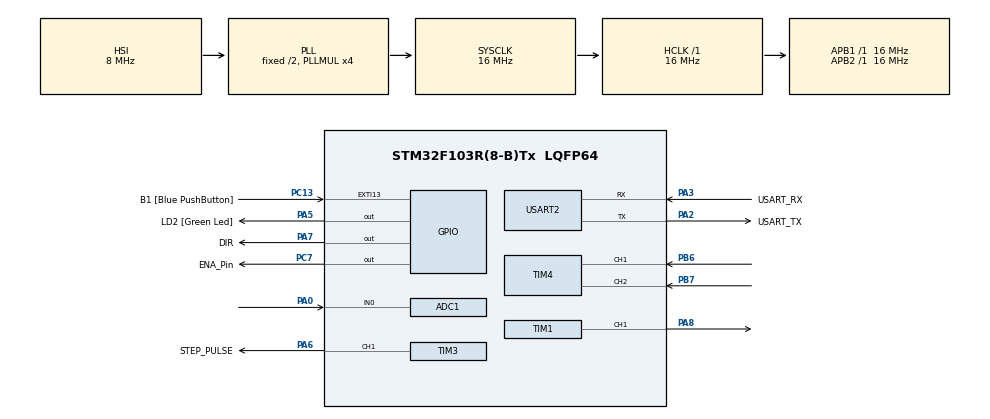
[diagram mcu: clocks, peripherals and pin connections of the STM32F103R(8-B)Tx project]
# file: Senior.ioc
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ADC1.Channel-1\#ChannelRegularConversion=ADC_CHANNEL_0
ADC1.ExternalTrigConv=ADC_EXTERNALTRIGCONV_T1_CC1
ADC1.NbrOfConversionFlag=1
ADC1.Rank-1\#ChannelRegularConversion=1
ADC1.SamplingTime-1\#ChannelRegularConversion=ADC_SAMPLETIME_55CYCLES_5
ADC1.master=1
Dma.ADC1.2.Direction=DMA_PERIPH_TO_MEMORY
Dma.ADC1.2.Instance=DMA1_Channel1
Dma.ADC1.2.MemDataAlignment=DMA_MDATAALIGN_HALFWORD
Dma.ADC1.2.MemInc=DMA_MINC_ENABLE
Dma.ADC1.2.Mode=DMA_CIRCULAR
Dma.ADC1.2.PeriphDataAlignment=DMA_PDATAALIGN_HALFWORD
Dma.ADC1.2.PeriphInc=DMA_PINC_DISABLE
Dma.ADC1.2.Priority=DMA_PRIORITY_LOW
Dma.Request0=USART2_TX
Dma.Request1=USART2_RX
Dma.Request2=ADC1
Dma.USART2_RX.1.Direction=DMA_PERIPH_TO_MEMORY
Dma.USART2_RX.1.Instance=DMA1_Channel6
Dma.USART2_RX.1.MemDataAlignment=DMA_MDATAALIGN_BYTE
Dma.USART2_RX.1.MemInc=DMA_MINC_ENABLE
Dma.USART2_RX.1.Mode=DMA_CIRCULAR
Dma.USART2_RX.1.PeriphDataAlignment=DMA_PDATAALIGN_BYTE
Dma.USART2_RX.1.PeriphInc=DMA_PINC_DISABLE
Dma.USART2_RX.1.Priority=DMA_PRIORITY_LOW
Dma.USART2_TX.0.Direction=DMA_MEMORY_TO_PERIPH
Dma.USART2_TX.0.Instance=DMA1_Channel7
Dma.USART2_TX.0.MemDataAlignment=DMA_MDATAALIGN_BYTE
Dma.USART2_TX.0.MemInc=DMA_MINC_ENABLE
Dma.USART2_TX.0.Mode=DMA_CIRCULAR
Dma.USART2_TX.0.PeriphDataAlignment=DMA_PDATAALIGN_BYTE
Dma.USART2_TX.0.PeriphInc=DMA_PINC_DISABLE
Dma.USART2_TX.0.Priority=DMA_PRIORITY_HIGH
Mcu.Family=STM32F1
Mcu.Name=STM32F103R(8-B)Tx
Mcu.Package=LQFP64
NVIC.DMA1_Channel1_IRQn=true\:0\:0\:false\:false\:true\:false\:true\:true
NVIC.DMA1_Channel6_IRQn=true\:0\:0\:false\:false\:true\:false\:true\:true
NVIC.DMA1_Channel7_IRQn=true\:0\:0\:false\:false\:true\:false\:true\:true
NVIC.EXTI15_10_IRQn=true\:0\:0\:false\:false\:true\:true\:true\:true
NVIC.PriorityGroup=NVIC_PRIORITYGROUP_4
NVIC.TIM1_UP_IRQn=true\:0\:0\:false\:false\:true\:true\:true\:true
NVIC.TIM2_IRQn=true\:2\:0\:true\:false\:true\:true\:true\:true
NVIC.TIM3_IRQn=true\:0\:0\:false\:false\:true\:true\:true\:true
NVIC.USART2_IRQn=true\:5\:0\:true\:false\:true\:true\:true\:true
PA0-WKUP.Signal=ADCx_IN0
PA13.GPIO_Label=TMS
PA13.Mode=Serial_Wire
PA13.Signal=SYS_JTMS-SWDIO
PA14.GPIO_Label=TCK
PA14.Mode=Serial_Wire
PA14.Signal=SYS_JTCK-SWCLK
PA2.GPIO_Label=USART_TX
PA2.GPIO_Mode=GPIO_MODE_AF_PP
PA2.GPIO_PuPd=GPIO_NOPULL
PA2.GPIO_Speed=GPIO_SPEED_FREQ_LOW
PA2.Mode=Asynchronous
PA2.Signal=USART2_TX
PA3.GPIO_Label=USART_RX
PA3.GPIO_Mode=GPIO_MODE_AF_PP
PA3.GPIO_PuPd=GPIO_NOPULL
PA3.GPIO_Speed=GPIO_SPEED_FREQ_LOW
PA3.Mode=Asynchronous
PA3.Signal=USART2_RX
PA5.GPIO_Label=LD2 [Green Led]
PA5.GPIO_ModeDefaultOutputPP=GPIO_MODE_OUTPUT_PP
PA5.GPIO_PuPd=GPIO_NOPULL
PA5.GPIO_Speed=GPIO_SPEED_FREQ_LOW
PA5.Signal=GPIO_Output
PA6.GPIO_Label=STEP_PULSE
PA6.Signal=S_TIM3_CH1
PA7.GPIO_Label=DIR
PA7.Signal=GPIO_Output
PA8.Signal=S_TIM1_CH1
PB3.GPIO_Label=SWO
PB3.Signal=SYS_JTDO-TRACESWO
PB6.GPIO_PuPd=GPIO_PULLUP
PB6.Signal=S_TIM4_CH1
PB7.GPIO_PuPd=GPIO_PULLUP
PB7.Signal=S_TIM4_CH2
PC13-TAMPER-RTC.GPIO_Label=B1 [Blue PushButton]
PC13-TAMPER-RTC.GPIO_PuPd=GPIO_NOPULL
PC13-TAMPER-RTC.Signal=GPXTI13
PC14-OSC32_IN.Mode=LSE-External-Oscillator
PC14-OSC32_IN.Signal=RCC_OSC32_IN
PC15-OSC32_OUT.Mode=LSE-External-Oscillator
PC15-OSC32_OUT.Signal=RCC_OSC32_OUT
PC7.GPIO_Label=ENA_Pin
PC7.Signal=GPIO_Output
PD0-OSC_IN.Mode=HSE-External-Clock-Source
PD0-OSC_IN.Signal=RCC_OSC_IN
PD1-OSC_OUT.Mode=HSE-External-Clock-Source
PD1-OSC_OUT.Signal=RCC_OSC_OUT
ProjectManager.HeapSize=0x200
ProjectManager.StackSize=0x400
ProjectManager.TargetToolchain=CMake
RCC.ADCPresc=RCC_ADCPCLK2_DIV8
RCC.AHBFreq_Value=16000000
RCC.APB1Freq_Value=16000000
RCC.APB1TimFreq_Value=16000000
RCC.APB2Freq_Value=16000000
RCC.APB2TimFreq_Value=16000000
RCC.HCLKFreq_Value=16000000
RCC.PLLMUL=RCC_PLL_MUL4
RCC.RTCClockSelection=RCC_RTCCLKSOURCE_LSE
RCC.SYSCLKFreq_VALUE=16000000
RCC.SYSCLKSource=RCC_SYSCLKSOURCE_PLLCLK
RCC.USBFreq_Value=16000000
SH.ADCx_IN0.0=ADC1_IN0,IN0
SH.S_TIM1_CH1.0=TIM1_CH1,Output Compare1 CH1
SH.S_TIM3_CH1.0=TIM3_CH1,PWM Generation1 CH1
SH.S_TIM4_CH1.0=TIM4_CH1,Encoder_Interface
SH.S_TIM4_CH2.0=TIM4_CH2,Encoder_Interface
TIM1.Channel-Output\ Compare1\ CH1=TIM_CHANNEL_1
TIM1.Prescaler=16-1
TIM1.TIM_MasterOutputTrigger=TIM_TRGO_UPDATE
TIM2.AutoReloadPreload=TIM_AUTORELOAD_PRELOAD_DISABLE
TIM2.Period=65535
TIM2.Prescaler=15
TIM2.TIM_MasterOutputTrigger=TIM_TRGO_RESET
TIM2.TIM_MasterSlaveMode=TIM_MASTERSLAVEMODE_DISABLE
TIM3.Channel-PWM\ Generation1\ CH1=TIM_CHANNEL_1
TIM3.Prescaler=16-1
TIM4.EncoderMode=TIM_ENCODERMODE_TI12
USART2.VirtualMode=VM_ASYNC
VP_TIM1_VS_ClockSourceINT.Mode=Internal
VP_TIM2_VS_ClockSourceINT.Mode=Internal
VP_TIM2_VS_ClockSourceITR.Mode=TriggerSource_ITR1
VP_TIM3_VS_ClockSourceINT.Mode=Internal
board=NUCLEO-F103RB

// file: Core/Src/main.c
/* USER CODE BEGIN Header */
/**
  ******************************************************************************
  * @file           : main.c
  * @brief          : Main program body
  ******************************************************************************
  * @attention
  *
  * Copyright (c) 2025 STMicroelectronics.
  * All rights reserved.
  *
  * This software is licensed under terms that can be found in the LICENSE file
  * in the root directory of this software component.
  * If no LICENSE file comes with this software, it is provided AS-IS.
  *
  ******************************************************************************
  */
/* USER CODE END Header */
#include "main.h"

/* USER CODE BEGIN Includes */
#include <math.h>
#include <stdint.h>
#include <stdio.h>
#include <string.h>
#include <stdlib.h>
/* USER CODE END Includes */

/* USER CODE BEGIN PTD */
typedef enum {
  MOTOR_IDLE,
  MOTOR_RUNNING,
  MOTOR_STOPPED
} MotorState;
/* USER CODE END PTD */

/* USER CODE BEGIN PD */
// Communication and buffer definitions
#define RX_BUFFER_SIZE 50       // Buffer size for UART reception
#define BUFFER_SIZE 1           // General buffer size
#define NUM_ADC_CHANNELS 1      // Number of ADC channels in use

// Motor control definitions
#define ALPHA 0.05            // Filter coefficient for EMA filter

// Motor parameters
#define PRESCALER 15 //COME BACK TO THIS
#define STEPS_PER 1600
#define MIN_SECONDS 60
#define CLOCK_FREQUENCY 16000000 // 16 MHz

#define COUNTS_PER_REV 2400.0f

// Torque Sensor Constants
#define VREF_ADC 3.3f
#define ADC_MAX  4095.0f
#define INA_GAIN 330
#define EXCITATION_VOLTAGE 5.0f
#define SENSOR_SENSTIVITY_MVV 1.5f
#define SENSOR_RATED_TORQUE 50.0f
#define ADC_AVG_WINDOW 16

// #define TORQUE_CAL_SLOPE 0.0008667f
#define TORQUE_CAL_SLOPE 0.000886088f

/* USER CODE END PD */

uint32_t flag=0;
ADC_HandleTypeDef hadc1;
DMA_HandleTypeDef hdma_adc1;

TIM_HandleTypeDef htim1;
TIM_HandleTypeDef htim2;
TIM_HandleTypeDef htim3;
TIM_HandleTypeDef htim4;

UART_HandleTypeDef huart2;
DMA_HandleTypeDef hdma_usart2_tx;
DMA_HandleTypeDef hdma_usart2_rx;

/* USER CODE BEGIN PV */

volatile uint32_t adc_callback_count = 0;
volatile uint32_t stream_data_count = 0;

static uint32_t adc_avg_buf[ADC_AVG_WINDOW] = {0};
static uint8_t adc_avg_idx = 0;

uint32_t micros;

float_t strain_rate, strain, gauge_length, gauge_diameter; //Variables to be received from GUI

//Variables Used to Calculate Speed from Strain Rater and then to create PWM Signals
uint16_t prescaler = 16-1;
uint16_t steps_per = 1600;
uint16_t min_seconds = 60;
uint32_t clock_frequency = 16e6;
uint32_t num_samples = 100;
float_t duration, speed, sampling_interval;
volatile int16_t encoder_start_count = 0;
uint16_t calculatedsteps, ARR, frequency;

volatile uint16_t adc_buffer[NUM_ADC_CHANNELS];
volatile uint32_t tim2_overflow_count = 0;

//Variables for UART Communication
char msg[100];
uint8_t rx_buffer[RX_BUFFER_SIZE];
uint8_t rx_index = 0;

uint8_t received_char;

uint32_t arr1;

uint8_t packet[13];

volatile uint32_t sample_count = 0;
volatile uint8_t recording_enabled = 0;
volatile uint8_t uart_dma_busy = 0;

volatile float_t filtered_value = 0.0f;
volatile float_t angle_degrees = 0.0f;
volatile uint16_t latest_torque_adc = 0;

volatile uint32_t target_steps = 0;
volatile uint32_t current_step = 0;
volatile uint8_t stepper_running = 0;

volatile MotorState motor_state = MOTOR_IDLE;

uint16_t adc_zero_offset; //ADC offset this is the value for which torque is 0

//Variable Changes when terminate test is clicked
/* USER CODE END PV */

void SystemClock_Config(void);
static void MX_GPIO_Init(void);
static void MX_DMA_Init(void);
static void MX_TIM3_Init(void);
static void MX_USART2_UART_Init(void);
static void MX_TIM2_Init(void);
static void MX_TIM4_Init(void);
static void MX_TIM1_Init(void);
static void MX_ADC1_Init(void);
/* USER CODE BEGIN PFP */
void Stream_Data(void);
void Motor_Enable(uint8_t ena);
void Motor_SetPWM(uint32_t steps);
void Motor_SetDirection(uint8_t dir);
void Motor_RampUp(uint16_t maxFrequency, uint16_t steps);
float Apply_EMA_filter(float new_angle);
void Reset_Experiment_State(void);

uint16_t Tare_Torque_Sensor(void);

uint32_t GetMicroseconds(void);

/* USER CODE END PFP */

int main(void)
{

  /* MCU Configuration--------------------------------------------------------*/

  /* Reset of all peripherals, Initializes the Flash interface and the Systick. */
  HAL_Init();

  /* Configure the system clock */
  SystemClock_Config();

  /* Initialize all configured peripherals */
  MX_GPIO_Init();
  MX_DMA_Init();
  MX_TIM3_Init();
  MX_USART2_UART_Init();
  MX_TIM2_Init();
  MX_TIM4_Init();
  MX_TIM1_Init();
  MX_ADC1_Init();
  /* USER CODE BEGIN 2 */
  HAL_UART_Receive_IT(&huart2, &rx_buffer[rx_index], 1);
  HAL_ADCEx_Calibration_Start(&hadc1);
  /* USER CODE END 2 */

  /* Infinite loop */
  while (1)
  {

    /* USER CODE BEGIN 3 */
    switch (motor_state)
    {
    case MOTOR_IDLE:
    if (strain_rate > 0)
    {
      Motor_Enable(1);
      if (strain_rate <= 13)
      {
        Motor_SetPWM(calculatedsteps);
        }
        else
        {
        //  Motor_RampUp(frequency, calculatedsteps);
        }
        motor_state = MOTOR_RUNNING;
    }
    break;

    case MOTOR_RUNNING:
      if (!stepper_running){
        motor_state = MOTOR_STOPPED;
      }
      // else if (!uart_dma_busy)
      // {
      //     Stream_Data();
      // }
      break;

    case MOTOR_STOPPED:
      Motor_Enable(0);
      Reset_Experiment_State();  // 🛠 full reset
      HAL_UART_AbortReceive_IT(&huart2);
      rx_index = 0;
      HAL_UART_Receive_IT(&huart2, &rx_buffer[rx_index], 1);
      break;
    }
  }
  /* USER CODE END 3 */
}

void SystemClock_Config(void)
{
  RCC_OscInitTypeDef RCC_OscInitStruct = {0};
  RCC_ClkInitTypeDef RCC_ClkInitStruct = {0};
  RCC_PeriphCLKInitTypeDef PeriphClkInit = {0};

  /** Initializes the RCC Oscillators according to the specified parameters
  * in the RCC_OscInitTypeDef structure.
  */
  RCC_OscInitStruct.OscillatorType = RCC_OSCILLATORTYPE_HSI;
  RCC_OscInitStruct.HSIState = RCC_HSI_ON;
  RCC_OscInitStruct.HSICalibrationValue = RCC_HSICALIBRATION_DEFAULT;
  RCC_OscInitStruct.PLL.PLLState = RCC_PLL_ON;
  RCC_OscInitStruct.PLL.PLLSource = RCC_PLLSOURCE_HSI_DIV2;
  RCC_OscInitStruct.PLL.PLLMUL = RCC_PLL_MUL4;
  if (HAL_RCC_OscConfig(&RCC_OscInitStruct) != HAL_OK)
  {
    Error_Handler();
  }

  /** Initializes the CPU, AHB and APB buses clocks
  */
  RCC_ClkInitStruct.ClockType = RCC_CLOCKTYPE_HCLK|RCC_CLOCKTYPE_SYSCLK
                              |RCC_CLOCKTYPE_PCLK1|RCC_CLOCKTYPE_PCLK2;
  RCC_ClkInitStruct.SYSCLKSource = RCC_SYSCLKSOURCE_PLLCLK;
  RCC_ClkInitStruct.AHBCLKDivider = RCC_SYSCLK_DIV1;
  RCC_ClkInitStruct.APB1CLKDivider = RCC_HCLK_DIV1;
  RCC_ClkInitStruct.APB2CLKDivider = RCC_HCLK_DIV1;

  if (HAL_RCC_ClockConfig(&RCC_ClkInitStruct, FLASH_LATENCY_0) != HAL_OK)
  {
    Error_Handler();
  }
  PeriphClkInit.PeriphClockSelection = RCC_PERIPHCLK_ADC;
  PeriphClkInit.AdcClockSelection = RCC_ADCPCLK2_DIV8;
  if (HAL_RCCEx_PeriphCLKConfig(&PeriphClkInit) != HAL_OK)
  {
    Error_Handler();
  }
}

static void MX_ADC1_Init(void)
{

  ADC_ChannelConfTypeDef sConfig = {0};

  /** Common config
  */
  hadc1.Instance = ADC1;
  hadc1.Init.ScanConvMode = ADC_SCAN_DISABLE;
  hadc1.Init.ContinuousConvMode = DISABLE;
  hadc1.Init.DiscontinuousConvMode = DISABLE;
  hadc1.Init.ExternalTrigConv = ADC_EXTERNALTRIGCONV_T1_CC1;
  hadc1.Init.DataAlign = ADC_DATAALIGN_RIGHT;
  hadc1.Init.NbrOfConversion = 1;
  if (HAL_ADC_Init(&hadc1) != HAL_OK)
  {
    Error_Handler();
  }

  /** Configure Regular Channel
  */
  sConfig.Channel = ADC_CHANNEL_0;
  sConfig.Rank = ADC_REGULAR_RANK_1;
  sConfig.SamplingTime = ADC_SAMPLETIME_239CYCLES_5;
  if (HAL_ADC_ConfigChannel(&hadc1, &sConfig) != HAL_OK)
  {
    Error_Handler();
  }

}

static void MX_TIM1_Init(void)
{

  TIM_ClockConfigTypeDef sClockSourceConfig = {0};
  TIM_MasterConfigTypeDef sMasterConfig = {0};
  TIM_OC_InitTypeDef sConfigOC = {0};
  TIM_BreakDeadTimeConfigTypeDef sBreakDeadTimeConfig = {0};

  htim1.Instance = TIM1;
  htim1.Init.Prescaler = 16-1;
  htim1.Init.CounterMode = TIM_COUNTERMODE_UP;
  htim1.Init.Period = 65535;
  htim1.Init.ClockDivision = TIM_CLOCKDIVISION_DIV1;
  htim1.Init.RepetitionCounter = 0;
  htim1.Init.AutoReloadPreload = TIM_AUTORELOAD_PRELOAD_DISABLE;
  if (HAL_TIM_Base_Init(&htim1) != HAL_OK)
  {
    Error_Handler();
  }
  sClockSourceConfig.ClockSource = TIM_CLOCKSOURCE_INTERNAL;
  if (HAL_TIM_ConfigClockSource(&htim1, &sClockSourceConfig) != HAL_OK)
  {
    Error_Handler();
  }
  if (HAL_TIM_OC_Init(&htim1) != HAL_OK)
  {
    Error_Handler();
  }
  sMasterConfig.MasterOutputTrigger = TIM_TRGO_OC1;
  sMasterConfig.MasterSlaveMode = TIM_MASTERSLAVEMODE_DISABLE;
  if (HAL_TIMEx_MasterConfigSynchronization(&htim1, &sMasterConfig) != HAL_OK)
  {
    Error_Handler();
  }
  sConfigOC.OCMode = TIM_OCMODE_PWM1;
  sConfigOC.Pulse = 0;
  sConfigOC.OCPolarity = TIM_OCPOLARITY_HIGH;
  sConfigOC.OCNPolarity = TIM_OCNPOLARITY_HIGH;
  sConfigOC.OCFastMode = TIM_OCFAST_DISABLE;
  sConfigOC.OCIdleState = TIM_OCIDLESTATE_RESET;
  sConfigOC.OCNIdleState = TIM_OCNIDLESTATE_RESET;
  if (HAL_TIM_OC_ConfigChannel(&htim1, &sConfigOC, TIM_CHANNEL_1) != HAL_OK)
  {
    Error_Handler();
  }
  sBreakDeadTimeConfig.OffStateRunMode = TIM_OSSR_DISABLE;
  sBreakDeadTimeConfig.OffStateIDLEMode = TIM_OSSI_DISABLE;
  sBreakDeadTimeConfig.LockLevel = TIM_LOCKLEVEL_OFF;
  sBreakDeadTimeConfig.DeadTime = 0;
  sBreakDeadTimeConfig.BreakState = TIM_BREAK_DISABLE;
  sBreakDeadTimeConfig.BreakPolarity = TIM_BREAKPOLARITY_HIGH;
  sBreakDeadTimeConfig.AutomaticOutput = TIM_AUTOMATICOUTPUT_DISABLE;
  if (HAL_TIMEx_ConfigBreakDeadTime(&htim1, &sBreakDeadTimeConfig) != HAL_OK)
  {
    Error_Handler();
  }
  HAL_TIM_MspPostInit(&htim1);

}

static void MX_TIM2_Init(void)
{

  TIM_ClockConfigTypeDef sClockSourceConfig = {0};
  TIM_SlaveConfigTypeDef sSlaveConfig = {0};
  TIM_MasterConfigTypeDef sMasterConfig = {0};

  htim2.Instance = TIM2;
  htim2.Init.Prescaler = 15;
  htim2.Init.CounterMode = TIM_COUNTERMODE_UP;
  htim2.Init.Period = 65535;
  htim2.Init.ClockDivision = TIM_CLOCKDIVISION_DIV1;
  htim2.Init.AutoReloadPreload = TIM_AUTORELOAD_PRELOAD_DISABLE;
  if (HAL_TIM_Base_Init(&htim2) != HAL_OK)
  {
    Error_Handler();
  }
  sClockSourceConfig.ClockSource = TIM_CLOCKSOURCE_INTERNAL;
  if (HAL_TIM_ConfigClockSource(&htim2, &sClockSourceConfig) != HAL_OK)
  {
    Error_Handler();
  }
  sSlaveConfig.SlaveMode = TIM_SLAVEMODE_DISABLE;
  sSlaveConfig.InputTrigger = TIM_TS_ITR1;
  if (HAL_TIM_SlaveConfigSynchro(&htim2, &sSlaveConfig) != HAL_OK)
  {
    Error_Handler();
  }
  sMasterConfig.MasterOutputTrigger = TIM_TRGO_RESET;
  sMasterConfig.MasterSlaveMode = TIM_MASTERSLAVEMODE_DISABLE;
  if (HAL_TIMEx_MasterConfigSynchronization(&htim2, &sMasterConfig) != HAL_OK)
  {
    Error_Handler();
  }

}

static void MX_TIM3_Init(void)
{

  TIM_ClockConfigTypeDef sClockSourceConfig = {0};
  TIM_MasterConfigTypeDef sMasterConfig = {0};
  TIM_OC_InitTypeDef sConfigOC = {0};

  htim3.Instance = TIM3;
  htim3.Init.Prescaler = 16-1;
  htim3.Init.CounterMode = TIM_COUNTERMODE_UP;
  htim3.Init.Period = 65535;
  htim3.Init.ClockDivision = TIM_CLOCKDIVISION_DIV1;
  htim3.Init.AutoReloadPreload = TIM_AUTORELOAD_PRELOAD_DISABLE;
  if (HAL_TIM_Base_Init(&htim3) != HAL_OK)
  {
    Error_Handler();
  }
  sClockSourceConfig.ClockSource = TIM_CLOCKSOURCE_INTERNAL;
  if (HAL_TIM_ConfigClockSource(&htim3, &sClockSourceConfig) != HAL_OK)
  {
    Error_Handler();
  }
  if (HAL_TIM_PWM_Init(&htim3) != HAL_OK)
  {
    Error_Handler();
  }
  sMasterConfig.MasterOutputTrigger = TIM_TRGO_RESET;
  sMasterConfig.MasterSlaveMode = TIM_MASTERSLAVEMODE_DISABLE;
  if (HAL_TIMEx_MasterConfigSynchronization(&htim3, &sMasterConfig) != HAL_OK)
  {
    Error_Handler();
  }
  sConfigOC.OCMode = TIM_OCMODE_PWM1;
  sConfigOC.Pulse = 0;
  sConfigOC.OCPolarity = TIM_OCPOLARITY_HIGH;
  sConfigOC.OCFastMode = TIM_OCFAST_DISABLE;
  if (HAL_TIM_PWM_ConfigChannel(&htim3, &sConfigOC, TIM_CHANNEL_1) != HAL_OK)
  {
    Error_Handler();
  }
  HAL_TIM_MspPostInit(&htim3);

}

static void MX_TIM4_Init(void)
{

  TIM_Encoder_InitTypeDef sConfig = {0};
  TIM_MasterConfigTypeDef sMasterConfig = {0};

  htim4.Instance = TIM4;
  htim4.Init.Prescaler = 0;
  htim4.Init.CounterMode = TIM_COUNTERMODE_UP;
  htim4.Init.Period = 65535;
  htim4.Init.ClockDivision = TIM_CLOCKDIVISION_DIV1;
  htim4.Init.AutoReloadPreload = TIM_AUTORELOAD_PRELOAD_DISABLE;
  sConfig.EncoderMode = TIM_ENCODERMODE_TI12;
  sConfig.IC1Polarity = TIM_ICPOLARITY_RISING;
  sConfig.IC1Selection = TIM_ICSELECTION_DIRECTTI;
  sConfig.IC1Prescaler = TIM_ICPSC_DIV1;
  sConfig.IC1Filter = 10;
  sConfig.IC2Polarity = TIM_ICPOLARITY_RISING;
  sConfig.IC2Selection = TIM_ICSELECTION_DIRECTTI;
  sConfig.IC2Prescaler = TIM_ICPSC_DIV1;
  sConfig.IC2Filter = 10;
  if (HAL_TIM_Encoder_Init(&htim4, &sConfig) != HAL_OK)
  {
    Error_Handler();
  }
  sMasterConfig.MasterOutputTrigger = TIM_TRGO_RESET;
  sMasterConfig.MasterSlaveMode = TIM_MASTERSLAVEMODE_DISABLE;
  if (HAL_TIMEx_MasterConfigSynchronization(&htim4, &sMasterConfig) != HAL_OK)
  {
    Error_Handler();
  }

}

static void MX_USART2_UART_Init(void)
{

  huart2.Instance = USART2;
  huart2.Init.BaudRate = 230400;
  huart2.Init.WordLength = UART_WORDLENGTH_8B;
  huart2.Init.StopBits = UART_STOPBITS_1;
  huart2.Init.Parity = UART_PARITY_NONE;
  huart2.Init.Mode = UART_MODE_TX_RX;
  huart2.Init.HwFlowCtl = UART_HWCONTROL_NONE;
  huart2.Init.OverSampling = UART_OVERSAMPLING_16;
  if (HAL_UART_Init(&huart2) != HAL_OK)
  {
    Error_Handler();
  }

}

static void MX_DMA_Init(void)
{

  /* DMA controller clock enable */
  __HAL_RCC_DMA1_CLK_ENABLE();

  /* DMA interrupt init */
  /* DMA1_Channel1_IRQn interrupt configuration */
  HAL_NVIC_SetPriority(DMA1_Channel1_IRQn, 0, 0);
  HAL_NVIC_EnableIRQ(DMA1_Channel1_IRQn);
  /* DMA1_Channel6_IRQn interrupt configuration */
  HAL_NVIC_SetPriority(DMA1_Channel6_IRQn, 0, 0);
  HAL_NVIC_EnableIRQ(DMA1_Channel6_IRQn);
  /* DMA1_Channel7_IRQn interrupt configuration */
  HAL_NVIC_SetPriority(DMA1_Channel7_IRQn, 0, 0);
  HAL_NVIC_EnableIRQ(DMA1_Channel7_IRQn);

}

static void MX_GPIO_Init(void)
{
  GPIO_InitTypeDef GPIO_InitStruct = {0};

  /* GPIO Ports Clock Enable */
  __HAL_RCC_GPIOC_CLK_ENABLE();
  __HAL_RCC_GPIOD_CLK_ENABLE();
  __HAL_RCC_GPIOA_CLK_ENABLE();
  __HAL_RCC_GPIOB_CLK_ENABLE();

  /*Configure GPIO pin Output Level */
  HAL_GPIO_WritePin(GPIOA, LD2_Pin|DIR_Pin, GPIO_PIN_RESET);

  /*Configure GPIO pin Output Level */
  HAL_GPIO_WritePin(ENA_Pin_GPIO_Port, ENA_Pin_Pin, GPIO_PIN_RESET);

  /*Configure GPIO pin : B1_Pin */
  GPIO_InitStruct.Pin = B1_Pin;
  GPIO_InitStruct.Mode = GPIO_MODE_IT_RISING;
  GPIO_InitStruct.Pull = GPIO_NOPULL;
  HAL_GPIO_Init(B1_GPIO_Port, &GPIO_InitStruct);

  /*Configure GPIO pins : LD2_Pin DIR_Pin */
  GPIO_InitStruct.Pin = LD2_Pin|DIR_Pin;
  GPIO_InitStruct.Mode = GPIO_MODE_OUTPUT_PP;
  GPIO_InitStruct.Pull = GPIO_NOPULL;
  GPIO_InitStruct.Speed = GPIO_SPEED_FREQ_LOW;
  HAL_GPIO_Init(GPIOA, &GPIO_InitStruct);

  /*Configure GPIO pin : ENA_Pin_Pin */
  GPIO_InitStruct.Pin = ENA_Pin_Pin;
  GPIO_InitStruct.Mode = GPIO_MODE_OUTPUT_PP;
  GPIO_InitStruct.Pull = GPIO_NOPULL;
  GPIO_InitStruct.Speed = GPIO_SPEED_FREQ_LOW;
  HAL_GPIO_Init(ENA_Pin_GPIO_Port, &GPIO_InitStruct);

  /* EXTI interrupt init*/
  HAL_NVIC_SetPriority(EXTI15_10_IRQn, 0, 0);
  HAL_NVIC_EnableIRQ(EXTI15_10_IRQn);

}

/* USER CODE BEGIN 4 */
/**
  * @brief  Applies an Exponential Moving Average (EMA) filter to smooth angle readings.
  * @param  new_angle: The latest angle value in degrees.
  * @retval Filtered angle value.
  * @note   The EMA filter reduces noise by blending new data with previous values.
  *         The smoothing factor is defined by ALPHA (0 < ALPHA < 1).
  *         A higher ALPHA gives more weight to new values, reducing lag but increasing noise.
  */
float Apply_EMA_filter(float float_value){
  if (filtered_value==0.0)
  {
    filtered_value= float_value;
  }
  else
  {
    filtered_value= (ALPHA*float_value)+((1-ALPHA)*filtered_value);
  }
  return filtered_value;
}

void Reset_Experiment_State(void) {
    stepper_running = 0;
    recording_enabled = 0;
    uart_dma_busy = 0;
    adc_callback_count = 0;
    stream_data_count = 0;
    sample_count = 0;
    tim2_overflow_count = 0;
    filtered_value = 0.0f;
    angle_degrees = 0.0f;

    // Stop peripherals safely
    HAL_TIM_PWM_Stop_IT(&htim3, TIM_CHANNEL_1);
    HAL_TIM_OC_Stop(&htim1, TIM_CHANNEL_1);
    HAL_TIM_Base_Stop(&htim1);
    HAL_TIM_Base_Stop(&htim2);
    HAL_TIM_Encoder_Stop(&htim4, TIM_CHANNEL_ALL);

    // Reset counters
    __HAL_TIM_SET_COUNTER(&htim2, 0);
    __HAL_TIM_SET_COUNTER(&htim1, 0);
    __HAL_TIM_SET_COUNTER(&htim3, 0);
    __HAL_TIM_SET_COUNTER(&htim4, 0);

    __HAL_TIM_SET_COUNTER(&htim2, 0);
    tim2_overflow_count = 0;

    HAL_GPIO_WritePin(ENA_Pin_GPIO_Port, ENA_Pin_Pin, GPIO_PIN_RESET);
    motor_state = MOTOR_IDLE;
}

/**
 *
 */
void Motor_Steps(uint32_t steps, uint8_t direction)
{
  if (stepper_running) return;

  target_steps= steps;
  current_step = 0;
  stepper_running = 1;

  Motor_SetDirection(direction);
  __HAL_TIM_SET_COUNTER(&htim3, 0);

  HAL_TIM_PWM_Start_IT(&htim3, TIM_CHANNEL_1);
}

void HAL_TIM_PWM_PulseFinishedCallback(TIM_HandleTypeDef *htim) {
  if (htim->Instance == TIM3 && stepper_running) {
    current_step++;
    if (current_step >= target_steps) {
      HAL_TIM_PWM_Stop_IT(&htim3, TIM_CHANNEL_1);
      stepper_running = 0;
      motor_state = MOTOR_STOPPED;
      Motor_Enable(0);
      strain_rate = 0;
      recording_enabled = 0;

      Reset_Experiment_State();
      HAL_GPIO_TogglePin(LD2_GPIO_Port, LD2_Pin);

      uint8_t end_marker = 0xFF;
      HAL_UART_Transmit(&huart2, &end_marker, 1, HAL_MAX_DELAY);
    }
  }
}

/**
  * @brief Motor Enable Function- To Enable the Running of the Motor
  * @param ena: 0/1 value to turn the motor on or off
  * @retval None
  */
void Motor_Enable(uint8_t ena)
{
  if (ena)
  {
    HAL_GPIO_WritePin(ENA_Pin_GPIO_Port, ENA_Pin_Pin, GPIO_PIN_SET);
    recording_enabled = 1;

    filtered_value = 0.0f;
    angle_degrees = 0.0f;

    // 🔧 Reset TIM2 (timestamp) and counters
    tim2_overflow_count = 0;
    __HAL_TIM_SET_COUNTER(&htim2, 0);
    __HAL_TIM_SET_COUNTER(&htim4, 0);
    sample_count = 0;

    __HAL_TIM_ENABLE_IT(&htim2, TIM_IT_UPDATE);  // TIM2 overflow interrupt (timestamping)
    HAL_TIM_Base_Start_IT(&htim2);                  // Start TIM2 (free-running time base)

    // arr1= 1000;

    // 🟢 TIM1 setup for sampling trigger (ADC, encoder, etc.)
    __HAL_TIM_SET_AUTORELOAD(&htim1, arr1);
    __HAL_TIM_SET_COMPARE(&htim1, TIM_CHANNEL_1, arr1);
    __HAL_TIM_SET_COUNTER(&htim1, 0);

    adc_zero_offset = Tare_Torque_Sensor();
    HAL_ADC_Start_DMA(&hadc1, (uint32_t*)adc_buffer, NUM_ADC_CHANNELS);

    HAL_TIM_Base_Start_IT(&htim1);         // Start TIM1 counter
    HAL_TIM_OC_Start(&htim1, TIM_CHANNEL_1);  // Enable output compare (triggers ADC)

    HAL_TIM_Encoder_Stop(&htim4, TIM_CHANNEL_ALL);
    __HAL_TIM_SET_COUNTER(&htim4, 0);
    HAL_TIM_Encoder_Start(&htim4, TIM_CHANNEL_ALL);

    encoder_start_count = 0;   // zero reference
  }
  else
  {
    HAL_GPIO_WritePin(ENA_Pin_GPIO_Port, ENA_Pin_Pin, GPIO_PIN_RESET);

    HAL_TIM_PWM_Stop_IT(&htim3, TIM_CHANNEL_1);
    HAL_TIM_OC_Stop(&htim1, TIM_CHANNEL_1);       // <-- 🔧 Don't forget to stop OC channel
    HAL_TIM_Base_Stop(&htim1);
    HAL_TIM_Base_Stop(&htim2);

    HAL_TIM_Encoder_Stop(&htim4, TIM_CHANNEL_ALL);

    recording_enabled = 0;
    uart_dma_busy = 0;
  }
}

/**
  * @brief Motor Direction Function- Setting the Direction of Rotation
  * @param dir: 0/1 value to turn the motor CCW/CW
  * @retval None
  */
void Motor_SetDirection(uint8_t dir)
{
  if (dir)
  {
    HAL_GPIO_WritePin(DIR_GPIO_Port, DIR_Pin, GPIO_PIN_SET);
  }
  else
  {
    HAL_GPIO_WritePin(DIR_GPIO_Port, DIR_Pin, GPIO_PIN_RESET);
  }
}

/**
  * @brief Motor Step Function - In the Case the Speed of the Motor doesn't need an acceleration profile directly setting the PWM
  * @param None
  * @retval None
  */
 void Motor_SetPWM(uint32_t steps)
 {
  Motor_Steps(steps, 0);
 }

/**
  * @brief Timers Interrupt Function - To set up for Timer 4 (free-running timer), and Timer 2 (interrupt timer to get Timer 4 and Encoder Readings)
  * @param htim: Timer Instance
  * @retval None
  */
 void HAL_TIM_PeriodElapsedCallback(TIM_HandleTypeDef *htim) {
  if (htim->Instance == TIM2) {
    tim2_overflow_count++;
    if (recording_enabled && motor_state == MOTOR_RUNNING) {
      sample_count++;
    }
  }
  else if (htim->Instance == TIM1){
    if (recording_enabled && motor_state == MOTOR_RUNNING){
    }
  }
}

float Calculate_Rotation(uint16_t steps) {
  return ((float_t)steps/(float_t)steps_per)*360.0;
}

float Calculate_Torque (uint16_t adc){
  // float v_adc = ((float)((int32_t)adc - (int32_t)adc_zero_offset) /  ADC_MAX) * VREF_ADC;
  // float v_bridge = v_adc/INA_GAIN;

  // float senstivity_v = (SENSOR_SENSTIVITY_MVV/1000.0f) * EXCITATION_VOLTAGE;

  // float torque_nm = (v_bridge/ senstivity_v) * SENSOR_RATED_TORQUE;
  float torque_nm = TORQUE_CAL_SLOPE * ((float)(int32_t)adc - (float)(int32_t)adc_zero_offset);

  return torque_nm;
}

/**
  * @brief  UART receive complete callback for USART2.
  * @param  huart: Pointer to the UART handle.
  * @retval None
  * @note   - Handles incoming UART messages.
  *         - If 'S' is received, stops the motor.
  *         - Parses incoming data to extract strain rate, strain, gauge length, and gauge diameter.
  *         - Calculates motor speed, frequency, and duration.
  *         - Starts motor operation based on received parameters.
  */
void HAL_UART_RxCpltCallback(UART_HandleTypeDef *huart)
{
    if (huart->Instance == USART2)
    {
        received_char = rx_buffer[rx_index];

        if (received_char == 'S')
        {
            strain_rate = 0;
            Motor_Enable(0);
            motor_state = MOTOR_STOPPED;

            stepper_running = 0;
            recording_enabled = 0;
            uart_dma_busy= 0;

            memset(rx_buffer, 0, RX_BUFFER_SIZE);
            HAL_UART_AbortReceive_IT(&huart2);
            rx_index = 0;
            strain = 0;
            gauge_length = 0;
            gauge_diameter = 0;
            Reset_Experiment_State();

            HAL_UART_Receive_IT(&huart2, &rx_buffer[rx_index], 1);

            return;
        }
        else if (received_char == '\n' || rx_index >= RX_BUFFER_SIZE-1)
        {
            rx_buffer[rx_index] = '\0'; // Null terminate the string
            char *token = strtok((char *)rx_buffer, " ");
            if (token != NULL)
            {
                strain_rate = strtof(token, NULL);
                token = strtok(NULL, " ");
            }
            if (token != NULL)
            {
                strain = strtof(token, NULL);
                token = strtok(NULL, " ");
            }
            if (token != NULL)
            {
                gauge_length = strtof(token, NULL);
                token = strtok(NULL, " ");
            }
            if (token != NULL)
            {
                gauge_diameter = strtof(token, NULL);
            }

            speed = (sqrt(3) * strain_rate * gauge_length * min_seconds) / (M_PI * gauge_diameter);
            frequency = (speed * steps_per) / min_seconds;
            duration = strain / strain_rate;
            sampling_interval = duration/(float_t)num_samples;
            float_t arr1_float = sampling_interval * (clock_frequency / (prescaler + 1));
            arr1= ((uint32_t)arr1_float)-1;

            __HAL_TIM_SET_AUTORELOAD(&htim1, arr1);
            __HAL_TIM_SET_COUNTER(&htim1, 0);

            calculatedsteps = (strain * sqrt(3) * gauge_length*steps_per)/(gauge_diameter*M_PI);

            sprintf(msg, "Speed: %f, Frequency: %d, Duration: %f\r\n", speed, frequency, duration);

            ARR = clock_frequency / ((prescaler+1) * frequency);
            __HAL_TIM_SET_AUTORELOAD(&htim3, ARR - 1);
            __HAL_TIM_SET_COMPARE(&htim3, TIM_CHANNEL_1, ARR / 2);
             memset(rx_buffer, 0, RX_BUFFER_SIZE);  // Clear buffer
            rx_index = 0;
        }
        else
        {
          rx_index++;
          if (rx_index >= RX_BUFFER_SIZE) {
               rx_index = 0;
          }
        }
    }
    HAL_UART_Receive_IT(&huart2, &rx_buffer[rx_index], 1);
}

/**
  * @brief  UART transmit complete callback for USART2.
  * @param  huart: Pointer to the UART handle.
  * @retval None
  * @note   - Handles completion of DMA-based UART transmission.
  *         - Continues sending the next chunk of stored data if available.
  *         - Resets transmission state when all data has been sent.
  */
 void HAL_UART_TxCpltCallback(UART_HandleTypeDef *huart) {
  if (huart->Instance == USART2) {
      uart_dma_busy = 0;
  }
}

uint32_t GetMicroseconds(void) {
  uint32_t overflow, counter;

  __disable_irq();  // Prevent TIM2 overflow from happening mid-read
  overflow = tim2_overflow_count;
  counter = __HAL_TIM_GET_COUNTER(&htim2);
  if (__HAL_TIM_GET_FLAG(&htim2, TIM_FLAG_UPDATE)) {
      // Overflow occurred just after we read, but before ISR ran
      overflow++;
      counter = __HAL_TIM_GET_COUNTER(&htim2);  // Read again for accuracy
  }
  __enable_irq();
  return (overflow * 65536UL) + counter;
}

uint16_t Tare_Torque_Sensor(void){
  uint32_t sum = 0;
  const int N = 500;
  for (int i = 0; i < N; i++){
    HAL_ADC_Start(&hadc1);
    HAL_ADC_PollForConversion(&hadc1, 10);
    sum += HAL_ADC_GetValue(&hadc1);
    HAL_ADC_Stop(&hadc1);
  }
  return (uint16_t)(sum/N);
}

void Stream_Data(void) {
  if (!uart_dma_busy && recording_enabled && motor_state == MOTOR_RUNNING && stepper_running) {
    uart_dma_busy = 1;

    micros = GetMicroseconds();
    float tstamp = micros / 1e6f;
    float torque = Calculate_Torque(latest_torque_adc);
    float torque_filtered = Apply_EMA_filter(torque);
    // float torque_filtered = Apply_EMA_filter();

    // Read encoder as signed 16-bit to handle direction + wrap
    int16_t encoder_count = (int16_t)__HAL_TIM_GET_COUNTER(&htim4);

    // Compute delta from start position
    int16_t delta = encoder_count - encoder_start_count;

    // Convert to mechanical degrees
    float rotation_degrees = ((float)delta / COUNTS_PER_REV) * 360.0f;

    packet[0] = 0xAA;
    memcpy(&packet[1], &tstamp, sizeof(float));
    memcpy(&packet[5], &rotation_degrees, sizeof(float));
    memcpy(&packet[9], &torque_filtered, sizeof(float));

    HAL_UART_Transmit_IT(&huart2, packet, sizeof(packet));
    stream_data_count++;
  }
  else{
    return;
  }
}

void HAL_ADC_ConvCpltCallback(ADC_HandleTypeDef *hadc) {
  if (hadc->Instance == ADC1 && recording_enabled && motor_state == MOTOR_RUNNING) {
    adc_avg_buf[adc_avg_idx] = adc_buffer[0];
    adc_avg_idx = (adc_avg_idx + 1) % ADC_AVG_WINDOW;

    uint32_t sum = 0;
    for (int i = 0; i < ADC_AVG_WINDOW; i++) sum += adc_avg_buf[i];

    latest_torque_adc = (uint16_t)(sum/ADC_AVG_WINDOW);
    adc_callback_count++;

    latest_torque_adc = adc_buffer[0];
    Stream_Data();
    adc_callback_count++;
  }
}

/* USER CODE END 4 */

void Error_Handler(void)
{
  __disable_irq();
  while (1)
  {
  }
}
